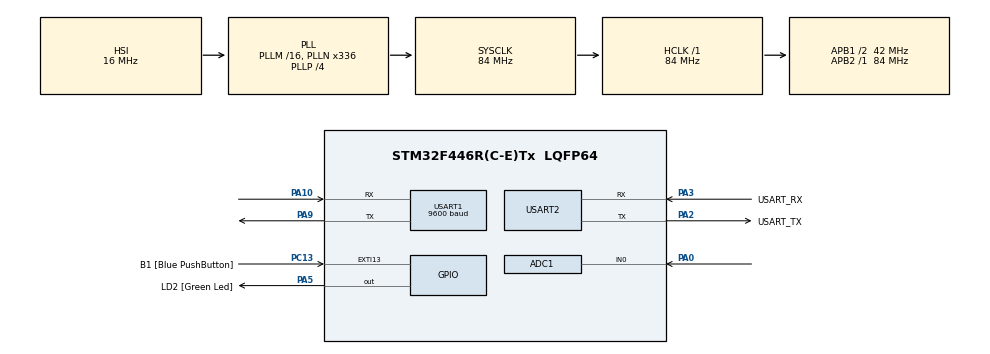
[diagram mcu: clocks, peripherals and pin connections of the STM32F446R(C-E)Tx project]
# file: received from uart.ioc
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ADC1.Channel-0\#ChannelRegularConversion=ADC_CHANNEL_0
ADC1.NbrOfConversionFlag=1
ADC1.Rank-0\#ChannelRegularConversion=1
ADC1.SamplingTime-0\#ChannelRegularConversion=ADC_SAMPLETIME_3CYCLES
ADC1.master=1
Mcu.Family=STM32F4
Mcu.Name=STM32F446R(C-E)Tx
Mcu.Package=LQFP64
NVIC.PriorityGroup=NVIC_PRIORITYGROUP_0
PA0-WKUP.Signal=ADCx_IN0
PA10.Mode=Asynchronous
PA10.Signal=USART1_RX
PA13.GPIO_Label=TMS
PA13.Mode=Serial_Wire
PA13.Signal=SYS_JTMS-SWDIO
PA14.GPIO_Label=TCK
PA14.Mode=Serial_Wire
PA14.Signal=SYS_JTCK-SWCLK
PA2.GPIO_Label=USART_TX
PA2.Mode=Asynchronous
PA2.Signal=USART2_TX
PA3.GPIO_Label=USART_RX
PA3.Mode=Asynchronous
PA3.Signal=USART2_RX
PA5.GPIO_Label=LD2 [Green Led]
PA5.Signal=GPIO_Output
PA9.Mode=Asynchronous
PA9.Signal=USART1_TX
PB3.GPIO_Label=SWO
PB3.Signal=SYS_JTDO-SWO
PC13.GPIO_Label=B1 [Blue PushButton]
PC13.GPIO_ModeDefaultEXTI=GPIO_MODE_IT_FALLING
PC13.Signal=GPXTI13
PC14-OSC32_IN.Mode=LSE-External-Oscillator
PC14-OSC32_IN.Signal=RCC_OSC32_IN
PC15-OSC32_OUT.Mode=LSE-External-Oscillator
PC15-OSC32_OUT.Signal=RCC_OSC32_OUT
PH0-OSC_IN.Mode=HSE-External-Oscillator
PH0-OSC_IN.Signal=RCC_OSC_IN
PH1-OSC_OUT.Mode=HSE-External-Oscillator
PH1-OSC_OUT.Signal=RCC_OSC_OUT
ProjectManager.HeapSize=0x200
ProjectManager.StackSize=0x400
ProjectManager.TargetToolchain=STM32CubeIDE
RCC.48MHZClocksFreq_Value=84000000
RCC.AHBFreq_Value=84000000
RCC.APB1CLKDivider=RCC_HCLK_DIV2
RCC.APB1Freq_Value=42000000
RCC.APB1TimFreq_Value=84000000
RCC.APB2Freq_Value=84000000
RCC.APB2TimFreq_Value=84000000
RCC.CortexFreq_Value=84000000
RCC.FLatency-AdvancedSettings=FLASH_LATENCY_2
RCC.HCLKFreq_Value=84000000
RCC.HSE_VALUE=8000000
RCC.HSI_VALUE=16000000
RCC.PLLN=336
RCC.PLLP=RCC_PLLP_DIV4
RCC.SYSCLKFreq_VALUE=84000000
RCC.SYSCLKSource=RCC_SYSCLKSOURCE_PLLCLK
RCC.USBFreq_Value=168000000
RCC.VCOOutputFreq_Value=336000000
SH.ADCx_IN0.0=ADC1_IN0,IN0
USART1.BaudRate=9600
USART1.VirtualMode=VM_ASYNC
USART2.VirtualMode=VM_ASYNC
board=NUCLEO-F446RE

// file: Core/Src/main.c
/* USER CODE BEGIN Header */
/**
  ******************************************************************************
  * @file           : main.c
  * @brief          : Main program body
  ******************************************************************************
  * @attention
  *
  * Copyright (c) 2025 STMicroelectronics.
  * All rights reserved.
  *
  * This software is licensed under terms that can be found in the LICENSE file
  * in the root directory of this software component.
  * If no LICENSE file comes with this software, it is provided AS-IS.
  *
  ******************************************************************************
  */
/* USER CODE END Header */
#include "main.h"
#include <string.h>
#include <stdio.h>

ADC_HandleTypeDef hadc1;

UART_HandleTypeDef huart1;
UART_HandleTypeDef huart2;

void SystemClock_Config(void);
static void MX_GPIO_Init(void);
static void MX_USART2_UART_Init(void);
static void MX_ADC1_Init(void);
static void MX_USART1_UART_Init(void);

/* USER CODE BEGIN 0 */
uint32_t read_mq3_adc_value() {
    HAL_ADC_Start(&hadc1);
    HAL_ADC_PollForConversion(&hadc1, HAL_MAX_DELAY);
    return HAL_ADC_GetValue(&hadc1);
}

uint8_t calculate_checksum(uint8_t *data, uint8_t length) {
    uint8_t sum = 0;
    for (int i = 0; i < length; i++) {
        sum ^= data[i];
    }
    return sum;
}

void send_mq3_packet() {
    uint8_t tx_buffer[8];
    uint32_t timestamp = HAL_GetTick(); // ms since startup
    uint16_t reading = (uint16_t)read_mq3_adc_value();

    tx_buffer[0] = 0x01;  // Sensor ID for MQ-3
    tx_buffer[1] = (timestamp >> 24) & 0xFF;
    tx_buffer[2] = (timestamp >> 16) & 0xFF;
    tx_buffer[3] = (timestamp >> 8) & 0xFF;
    tx_buffer[4] = timestamp & 0xFF;
    tx_buffer[5] = (reading >> 8) & 0xFF;
    tx_buffer[6] = reading & 0xFF;
    tx_buffer[7] = calculate_checksum(tx_buffer, 7);

    HAL_UART_Transmit(&huart1, tx_buffer, 8, HAL_MAX_DELAY);
}
/* USER CODE END 0 */

int main(void)
{

  /* MCU Configuration--------------------------------------------------------*/

  /* Reset of all peripherals, Initializes the Flash interface and the Systick. */
  HAL_Init();

  /* Configure the system clock */
  SystemClock_Config();

  /* Initialize all configured peripherals */
  MX_GPIO_Init();
  MX_USART2_UART_Init();
  MX_ADC1_Init();
  MX_USART1_UART_Init();

  /* Infinite loop */
  while (1)
  {
	  send_mq3_packet();
	          HAL_Delay(1000);
  }
}

void SystemClock_Config(void)
{
  RCC_OscInitTypeDef RCC_OscInitStruct = {0};
  RCC_ClkInitTypeDef RCC_ClkInitStruct = {0};

  /** Configure the main internal regulator output voltage
  */
  __HAL_RCC_PWR_CLK_ENABLE();
  __HAL_PWR_VOLTAGESCALING_CONFIG(PWR_REGULATOR_VOLTAGE_SCALE3);

  /** Initializes the RCC Oscillators according to the specified parameters
  * in the RCC_OscInitTypeDef structure.
  */
  RCC_OscInitStruct.OscillatorType = RCC_OSCILLATORTYPE_HSI;
  RCC_OscInitStruct.HSIState = RCC_HSI_ON;
  RCC_OscInitStruct.HSICalibrationValue = RCC_HSICALIBRATION_DEFAULT;
  RCC_OscInitStruct.PLL.PLLState = RCC_PLL_ON;
  RCC_OscInitStruct.PLL.PLLSource = RCC_PLLSOURCE_HSI;
  RCC_OscInitStruct.PLL.PLLM = 16;
  RCC_OscInitStruct.PLL.PLLN = 336;
  RCC_OscInitStruct.PLL.PLLP = RCC_PLLP_DIV4;
  RCC_OscInitStruct.PLL.PLLQ = 2;
  RCC_OscInitStruct.PLL.PLLR = 2;
  if (HAL_RCC_OscConfig(&RCC_OscInitStruct) != HAL_OK)
  {
    Error_Handler();
  }

  /** Initializes the CPU, AHB and APB buses clocks
  */
  RCC_ClkInitStruct.ClockType = RCC_CLOCKTYPE_HCLK|RCC_CLOCKTYPE_SYSCLK
                              |RCC_CLOCKTYPE_PCLK1|RCC_CLOCKTYPE_PCLK2;
  RCC_ClkInitStruct.SYSCLKSource = RCC_SYSCLKSOURCE_PLLCLK;
  RCC_ClkInitStruct.AHBCLKDivider = RCC_SYSCLK_DIV1;
  RCC_ClkInitStruct.APB1CLKDivider = RCC_HCLK_DIV2;
  RCC_ClkInitStruct.APB2CLKDivider = RCC_HCLK_DIV1;

  if (HAL_RCC_ClockConfig(&RCC_ClkInitStruct, FLASH_LATENCY_2) != HAL_OK)
  {
    Error_Handler();
  }
}

static void MX_ADC1_Init(void)
{

  ADC_ChannelConfTypeDef sConfig = {0};

  /** Configure the global features of the ADC (Clock, Resolution, Data Alignment and number of conversion)
  */
  hadc1.Instance = ADC1;
  hadc1.Init.ClockPrescaler = ADC_CLOCK_SYNC_PCLK_DIV4;
  hadc1.Init.Resolution = ADC_RESOLUTION_12B;
  hadc1.Init.ScanConvMode = DISABLE;
  hadc1.Init.ContinuousConvMode = DISABLE;
  hadc1.Init.DiscontinuousConvMode = DISABLE;
  hadc1.Init.ExternalTrigConvEdge = ADC_EXTERNALTRIGCONVEDGE_NONE;
  hadc1.Init.ExternalTrigConv = ADC_SOFTWARE_START;
  hadc1.Init.DataAlign = ADC_DATAALIGN_RIGHT;
  hadc1.Init.NbrOfConversion = 1;
  hadc1.Init.DMAContinuousRequests = DISABLE;
  hadc1.Init.EOCSelection = ADC_EOC_SINGLE_CONV;
  if (HAL_ADC_Init(&hadc1) != HAL_OK)
  {
    Error_Handler();
  }

  /** Configure for the selected ADC regular channel its corresponding rank in the sequencer and its sample time.
  */
  sConfig.Channel = ADC_CHANNEL_0;
  sConfig.Rank = 1;
  sConfig.SamplingTime = ADC_SAMPLETIME_3CYCLES;
  if (HAL_ADC_ConfigChannel(&hadc1, &sConfig) != HAL_OK)
  {
    Error_Handler();
  }

}

static void MX_USART1_UART_Init(void)
{

  huart1.Instance = USART1;
  huart1.Init.BaudRate = 9600;
  huart1.Init.WordLength = UART_WORDLENGTH_8B;
  huart1.Init.StopBits = UART_STOPBITS_1;
  huart1.Init.Parity = UART_PARITY_NONE;
  huart1.Init.Mode = UART_MODE_TX_RX;
  huart1.Init.HwFlowCtl = UART_HWCONTROL_NONE;
  huart1.Init.OverSampling = UART_OVERSAMPLING_16;
  if (HAL_UART_Init(&huart1) != HAL_OK)
  {
    Error_Handler();
  }

}

static void MX_USART2_UART_Init(void)
{

  huart2.Instance = USART2;
  huart2.Init.BaudRate = 115200;
  huart2.Init.WordLength = UART_WORDLENGTH_8B;
  huart2.Init.StopBits = UART_STOPBITS_1;
  huart2.Init.Parity = UART_PARITY_NONE;
  huart2.Init.Mode = UART_MODE_TX_RX;
  huart2.Init.HwFlowCtl = UART_HWCONTROL_NONE;
  huart2.Init.OverSampling = UART_OVERSAMPLING_16;
  if (HAL_UART_Init(&huart2) != HAL_OK)
  {
    Error_Handler();
  }

}

static void MX_GPIO_Init(void)
{
  GPIO_InitTypeDef GPIO_InitStruct = {0};

  /* GPIO Ports Clock Enable */
  __HAL_RCC_GPIOC_CLK_ENABLE();
  __HAL_RCC_GPIOH_CLK_ENABLE();
  __HAL_RCC_GPIOA_CLK_ENABLE();
  __HAL_RCC_GPIOB_CLK_ENABLE();

  /*Configure GPIO pin Output Level */
  HAL_GPIO_WritePin(LD2_GPIO_Port, LD2_Pin, GPIO_PIN_RESET);

  /*Configure GPIO pin : B1_Pin */
  GPIO_InitStruct.Pin = B1_Pin;
  GPIO_InitStruct.Mode = GPIO_MODE_IT_FALLING;
  GPIO_InitStruct.Pull = GPIO_NOPULL;
  HAL_GPIO_Init(B1_GPIO_Port, &GPIO_InitStruct);

  /*Configure GPIO pin : LD2_Pin */
  GPIO_InitStruct.Pin = LD2_Pin;
  GPIO_InitStruct.Mode = GPIO_MODE_OUTPUT_PP;
  GPIO_InitStruct.Pull = GPIO_NOPULL;
  GPIO_InitStruct.Speed = GPIO_SPEED_FREQ_LOW;
  HAL_GPIO_Init(LD2_GPIO_Port, &GPIO_InitStruct);

}

void Error_Handler(void)
{
  __disable_irq();
  while (1)
  {
  }
}
